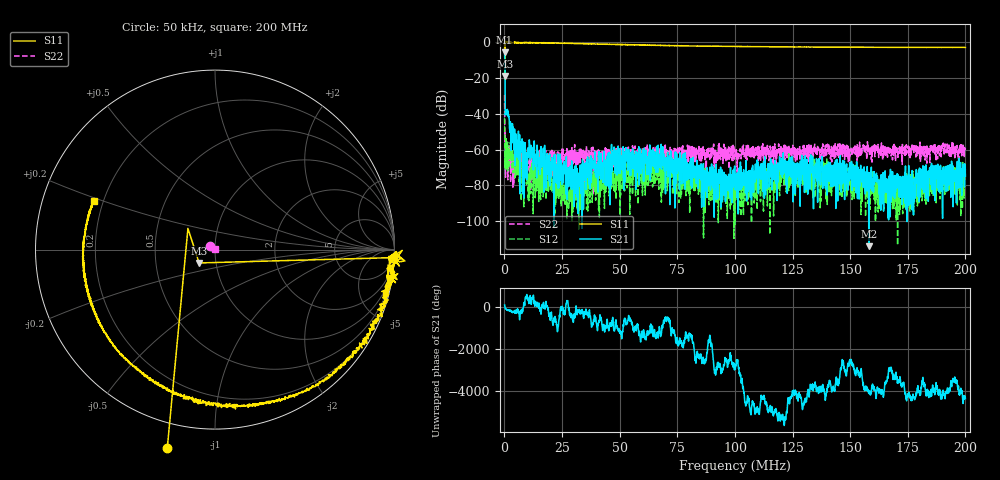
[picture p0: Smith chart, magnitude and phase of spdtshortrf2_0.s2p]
! 26-Feb-26 10:54:07 AM
! E:\VNA_MEASUREMENTS\SPDT1_OPENSHORT\SPDTSHORTRF2_0.S2P
! CHANNEL.1
! TR.MEASUREMENT
! CORRECTED.DATA
# GHZ S RI R 50.0
! FREQ.GHZ  S11RE  S11IM  S21RE  S21IM  S12RE  S12IM  S22RE  S22IM
!; PortSelection: Port_12
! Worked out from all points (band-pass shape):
!   2000 points, 50 kHz to 200 MHz, reference 50 ohm
!   highest |S21| = -5.59 dB at 50 kHz (marker M1); lowest = -114.0 dB at 158.1 MHz (marker M2)
!   |S21| within 3 dB of the highest: start of sweep to 98.97 kHz
!   lowest |S11| = -18.7 dB at 250 kHz (marker M3), VSWR 1.26, Z = 41.4 - j6.25 ohm
!   |S11| at or under -10 dB: 121.9 kHz to 297.1 kHz (175.2 kHz wide, 83.6 % of centre)
!   |S22| runs from -84.6 to -29.4 dB; largest |S21 - S12| = 0.52
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5e-05  -0.2659 -1.107  0.1429 0.5054  -0.00231 0.00717  -0.0275 0.02
0.00025005  -0.0887 -0.0744  0.0577 -0.1545  -0.000243 -0.000202  0.00055 -0.00287
0.001150275  1.013 -0.07  -0.0104 -0.000952  0.000431 -0.000624  0.000463 0.000116
0.002350575  0.9773 -0.117  -0.00301 -0.000556  0.000423 0.000286  0.000722 -0.000565
0.008852201  0.9341 -0.2671  -0.000771 -0.0003  -0.000525 0.000263  0.000487 0.000225
0.01135283  0.9322 -0.3727  0.000826 -0.000177  5.6e-05 -1.67e-05  0.000302 -3.45e-05
0.02695673  0.6222 -0.7175  -0.000107 -2.4e-06  -4.99e-05 -2.5e-05  0.000428 0.000191
0.03345835  0.466 -0.8004  -0.000339 0.000194  -7.3e-06 4.96e-05  0.000765 0.000564
0.04816203  0.1235 -0.8676  0.000368 4.98e-05  8.38e-05 0.000222  0.000226 0.000462
0.05146286  0.0555 -0.8695  0.000441 0.00113  -0.000385 -0.000132  0.000512 0.000408
0.05346336  0.0114 -0.8612  0.000144 0.000223  1.24e-05 -0.000235  0.000596 0.000353
0.05746436  -0.056 -0.8513  -0.000169 -0.000197  0.000486 0.000237  0.000902 0.000193
0.06676668  -0.2284 -0.7984  -0.000113 0.000512  0.000198 3.95e-05  0.000289 0.000366
0.08757189  -0.4806 -0.627  0.000149 1.3e-05  5.92e-05 -7.47e-05  0.000257 0.00033
0.100075  -0.5843 -0.5113  6.79e-05 -0.000157  -1.26e-05 -9.23e-05  0.000661 0.000484
0.1058765  -0.6173 -0.4537  -6.02e-05 -4.28e-05  0.000108 -4.52e-05  0.000794 0.00106
0.11998  -0.6812 -0.3242  0.000113 -0.000318  7.89e-05 -9.3e-05  0.00101 0.00068
0.1333833  -0.7163 -0.2084  0.000257 0.000247  0.000217 8e-05  0.000345 0.000924
0.1580895  -0.7341 -0.0106  -1e-07 -2e-06  0.000102 -9.6e-05  0.000803 0.000669
0.1666917  -0.73 0.0527  -5e-07 -1.09e-05  -1.36e-05 -1.31e-05  0.000257 0.000958
0.1976994  -0.682 0.2558  0.000231 9.64e-05  3.52e-05 1.71e-05  0.000733 0.00108
0.2  -0.6762 0.2684  0.000174 -6.35e-05  0.000209 -0.000191  0.000265 0.00109
